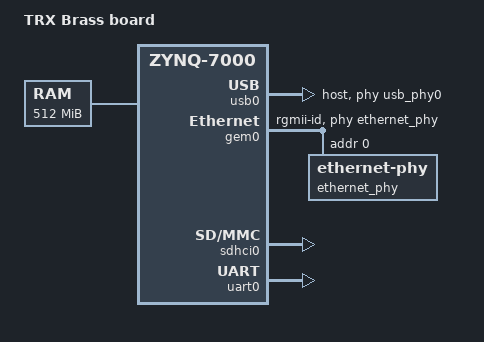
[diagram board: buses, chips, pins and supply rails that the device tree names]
// SPDX-License-Identifier: GPL-2.0+
/*
 *  Copyright (C) 2023 R1CBU
 */
/dts-v1/;
#include "zynq-7000.dtsi"

/ {
	model = "TRX Brass board";
	compatible = "xlnx,zynq-zed", "xlnx,zynq-7000";

	aliases {
		serial0 = &uart0;
		mmc0 = &sdhci0;
	};

	memory@0 {
		device_type = "memory";
		reg = <0x0 0x20000000>;
	};

	chosen {
		bootargs = "";
		stdout-path = "serial0:115200n8";
	};

	usb_phy0: phy0@e0002000 {
		compatible = "ulpi-phy";
		#phy-cells = <0>;
		reg = <0xe0002000 0x1000>;
		view-port = <0x0170>;
		drv-vbus;
	};
};

&usb0 {
	status = "okay";
	usb-reset = <&gpio0 8 0>;
	dr_mode = "host";
	usb-phy = <&usb_phy0>;
};

&gem0 {
	status = "okay";
	phy-mode = "rgmii-id";
	phy-handle = <&ethernet_phy>;
	enet-reset = <&gpio0 7 0>;

	ethernet_phy: ethernet-phy@0 {
		reg = <0>;
		device_type = "ethernet-phy";
	};
};

&clkc {
	ps-clk-frequency = <33333333>;
};

&sdhci0 {
	u-boot,dm-pre-reloc;
	status = "okay";
};

&uart0 {
	u-boot,dm-pre-reloc;
	status = "okay";
};
